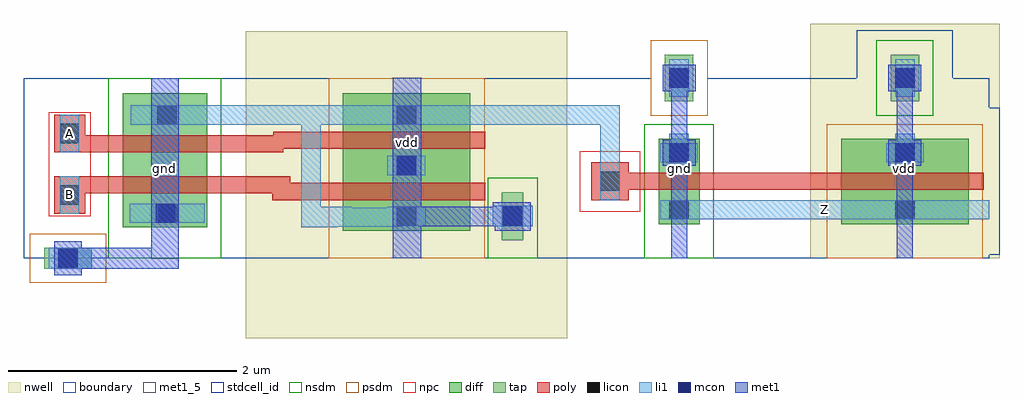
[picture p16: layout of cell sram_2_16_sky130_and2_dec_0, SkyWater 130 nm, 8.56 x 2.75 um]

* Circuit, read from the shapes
.subckt sram_2_16_sky130_and2_dec_0 A B Z gnd vdd
XM1 n1 B gnd gnd sky130_fd_pr__nfet_01v8 w=0.74 l=0.15
XM2 sram_2_16_sky130_pinv_dec_1/A A n1 gnd sky130_fd_pr__nfet_01v8 w=0.74 l=0.15
XM3 gnd sram_2_16_sky130_pinv_dec_1/A Z gnd sky130_fd_pr__nfet_01v8 w=0.36 l=0.15
XM4 vdd B sram_2_16_sky130_pinv_dec_1/A vdd sky130_fd_pr__pfet_01v8 w=1.12 l=0.15
XM5 sram_2_16_sky130_pinv_dec_1/A A vdd vdd sky130_fd_pr__pfet_01v8 w=1.12 l=0.15
XM6 vdd sram_2_16_sky130_pinv_dec_1/A Z vdd sky130_fd_pr__pfet_01v8 w=1.12 l=0.15
.ends

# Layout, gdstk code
from math import pi, radians
import gdstk
lib = gdstk.Library(unit=1e-6, precision=1e-09)
def R(c, l, rs):  # rectangles x0, y0, x1, y1
    for r in rs: c.add(gdstk.rectangle(r[:2], r[2:], *l))
nwell = (64, 20)
diff = (65, 20)
tap = (65, 44)
poly = (66, 20)
licon = (66, 44)
li1 = (67, 20)
mcon = (67, 44)
met1_5 = (68, 5)
met1 = (68, 20)
stdcell_id = (81, 4)
nsdm = (93, 44)
psdm = (94, 20)
npc = (95, 20)
boundary = (235, 4)

sky130_fd_bd_sram__openr = lib.new_cell('sky130_fd_bd_sram__openram_sp_nand2_dec')
R(sky130_fd_bd_sram__openr, nwell, [(1.95,-0.7,4.77,1.99)])
R(sky130_fd_bd_sram__openr, diff, [(2.8,0.24,3.92,1.445), (0.87,0.27,1.61,1.445)])
R(sky130_fd_bd_sram__openr, tap, [(0.18,-0.09,0.6,0.09), (4.195,0.16,4.385,0.58)])
R(sky130_fd_bd_sram__openr, poly, [(0.27,0.39,0.54,0.57), (2.18,0.51,4.05,0.57), (0.27,0.57,4.05,0.66), (0.27,0.66,2.34,0.72), (0.27,0.93,2.28,0.96), (0.27,0.96,4.05,1.08), (0.27,1.08,0.54,1.26), (2.19,1.08,4.05,1.11)])
R(sky130_fd_bd_sram__openr, licon, [(0.305,-0.085,0.475,0.085), (3.275,0.28,3.445,0.45), (4.205,0.285,4.375,0.455), (1.185,0.31,1.355,0.48), (0.32,0.47,0.49,0.64), (3.275,0.73,3.445,0.9), (0.32,1.01,0.49,1.18), (1.175,1.17,1.345,1.34), (3.275,1.17,3.445,1.34)])
R(sky130_fd_bd_sram__openr, li1, [(0.22,-0.09,0.6,0.09), (2.435,0.27,2.75,0.275), (2.435,0.275,3.315,0.28), (2.435,0.28,3.53,0.445), (4.115,0.28,4.465,0.46), (0.93,0.31,1.59,0.48), (0.32,0.39,0.49,0.72), (0.32,0.39,0.49,0.72), (2.435,0.445,2.88,0.45), (3.19,0.445,3.53,0.45), (2.435,0.45,2.605,1.17), (3.19,0.73,3.525,0.9), (0.32,0.93,0.49,1.26), (0.32,0.93,0.49,1.26), (0.94,1.17,4.33,1.34), (0.94,1.17,4.33,1.34)])
R(sky130_fd_bd_sram__openr, mcon, [(0.305,-0.085,0.475,0.085), (4.205,0.285,4.375,0.455), (1.16,0.31,1.33,0.48), (3.275,0.73,3.445,0.9)])
R(sky130_fd_bd_sram__openr, met1_5, [(1.12,-0.005,1.36,1.58), (1.12,-0.005,1.36,1.58), (3.24,0.45,3.49,1.585), (3.24,0.45,3.49,1.585)])
R(sky130_fd_bd_sram__openr, met1, [(0.27,-0.15,0.51,-0.09), (0.27,-0.09,1.36,0.09), (1.12,-0.005,1.36,1.58), (3.24,0,3.49,0.28), (0.27,0.09,0.51,0.15), (1.12,0.09,1.36,1.58), (4.135,0.24,4.45,0.28), (3.24,0.28,4.45,0.45), (3.24,0.45,3.49,1.585), (3.24,0.45,3.49,1.585), (4.115,0.45,4.45,0.49)])
R(sky130_fd_bd_sram__openr, nsdm, [(0.745,0,1.735,1.58), (4.07,0,4.51,0.705)])
R(sky130_fd_bd_sram__openr, psdm, [(0.055,-0.215,0.725,0.215), (2.675,0,4.045,1.58)])
R(sky130_fd_bd_sram__openr, npc, [(0.22,0.37,0.59,1.28)])
R(sky130_fd_bd_sram__openr, boundary, [(0,0,4.76,1.58)])
sky130_fd_bd_sram__openr.add(gdstk.Label('GND', (1.24,0.782), layer=68, texttype=5))
sky130_fd_bd_sram__openr.add(gdstk.Label('VDD', (3.365,1.03), layer=68, texttype=5))
sky130_fd_bd_sram__openr.add(gdstk.Label('vdd', (3.365,1.03), layer=68, texttype=5))
sky130_fd_bd_sram__openr.add(gdstk.Label('gnd', (1.24,0.78), layer=68, texttype=5))
sky130_fd_bd_sram__openr.add(gdstk.Label('A', (0.405,1.095), layer=67, texttype=5))
sky130_fd_bd_sram__openr.add(gdstk.Label('B', (0.405,0.555), layer=67, texttype=5))
sky130_fd_bd_sram__openr.add(gdstk.Label('Z', (2.635,1.255), layer=67, texttype=5))
sky130_fd_bd_sram__openr.add(gdstk.Label('A', (0.405,1.095), layer=67, texttype=5))
sky130_fd_bd_sram__openr.add(gdstk.Label('B', (0.405,0.555), layer=67, texttype=5))
sky130_fd_bd_sram__openr.add(gdstk.Label('Z', (2.635,1.255), layer=67, texttype=5))
sky130_fd_bd_sram__openr.add(gdstk.Label('vdd', (3.365,1.018), layer=68, texttype=5))
sky130_fd_bd_sram__openr.add(gdstk.Label('gnd', (1.24,0.788), layer=68, texttype=5))

sram_2_16_sky130_contact = lib.new_cell('sram_2_16_sky130_contact_11')
R(sram_2_16_sky130_contact, nwell, [(-0.295,-0.255,0.545,0.585)])
R(sram_2_16_sky130_contact, diff, [(0,0.02,0.25,0.31)])
R(sram_2_16_sky130_contact, licon, [(0.04,0.08,0.21,0.25)])
R(sram_2_16_sky130_contact, li1, [(0.04,0,0.21,0.33)])
R(sram_2_16_sky130_contact, stdcell_id, [(-0.295,-0.255,0.545,0.585)])
R(sram_2_16_sky130_contact, psdm, [(-0.125,-0.105,0.375,0.435)])
R(sram_2_16_sky130_contact, boundary, [(-0.295,-0.255,0.545,0.585)])

sram_2_16_sky130_pmos_m1 = lib.new_cell('sram_2_16_sky130_pmos_m1_w1_120_sli_dli_da_p')
R(sram_2_16_sky130_pmos_m1, nwell, [(-0.27,-0.27,1.02,1.39)])
R(sram_2_16_sky130_pmos_m1, diff, [(0,0,0.75,1.12)])
R(sram_2_16_sky130_pmos_m1, poly, [(0.3,-0.13,0.45,1.25), (0.3,-0.13,0.45,1.25)])
R(sram_2_16_sky130_pmos_m1, li1, [(0.04,0.395,0.21,0.725), (0.54,0.395,0.71,0.725)])
R(sram_2_16_sky130_pmos_m1, stdcell_id, [(-0.27,-0.27,1.02,1.39)])
R(sram_2_16_sky130_pmos_m1, psdm, [(-0.125,-0.125,0.875,1.245)])
R(sram_2_16_sky130_pmos_m1, boundary, [(-0.27,-0.27,1.02,1.39)])
sram_2_16_sky130_pmos_m1.add(gdstk.Reference(sram_2_16_sky130_contact, (0,0.395)))
sram_2_16_sky130_pmos_m1.add(gdstk.Reference(sram_2_16_sky130_contact, (0.5,0.395)))
sram_2_16_sky130_pmos_m1.add(gdstk.Label('G', (0.375,0.56), layer=66, texttype=5))
sram_2_16_sky130_pmos_m1.add(gdstk.Label('S', (0.125,0.56), layer=67, texttype=5))
sram_2_16_sky130_pmos_m1.add(gdstk.Label('D', (0.625,0.56), layer=67, texttype=5))

c_sram_2_16_sky130_contact = lib.new_cell('sram_2_16_sky130_contact_10')
R(c_sram_2_16_sky130_contact, diff, [(0,0.02,0.25,0.31)])
R(c_sram_2_16_sky130_contact, licon, [(0.04,0.08,0.21,0.25)])
R(c_sram_2_16_sky130_contact, li1, [(0.04,0,0.21,0.33)])
R(c_sram_2_16_sky130_contact, stdcell_id, [(-0.125,-0.105,0.375,0.435)])
R(c_sram_2_16_sky130_contact, nsdm, [(-0.125,-0.105,0.375,0.435)])
R(c_sram_2_16_sky130_contact, boundary, [(-0.125,-0.105,0.375,0.435)])

sram_2_16_sky130_nmos_m1 = lib.new_cell('sram_2_16_sky130_nmos_m1_w0_360_sli_dli_da_p')
R(sram_2_16_sky130_nmos_m1, diff, [(0,0,0.75,0.36)])
R(sram_2_16_sky130_nmos_m1, poly, [(0.3,-0.13,0.45,0.49), (0.3,-0.13,0.45,0.49)])
R(sram_2_16_sky130_nmos_m1, li1, [(0.04,0.015,0.21,0.345), (0.54,0.015,0.71,0.345)])
R(sram_2_16_sky130_nmos_m1, stdcell_id, [(-0.125,-0.13,0.875,0.49)])
R(sram_2_16_sky130_nmos_m1, nsdm, [(-0.125,-0.125,0.875,0.485)])
R(sram_2_16_sky130_nmos_m1, boundary, [(-0.125,-0.13,0.875,0.49)])
sram_2_16_sky130_nmos_m1.add(gdstk.Reference(c_sram_2_16_sky130_contact, (0,0.015)))
sram_2_16_sky130_nmos_m1.add(gdstk.Reference(c_sram_2_16_sky130_contact, (0.5,0.015)))
sram_2_16_sky130_nmos_m1.add(gdstk.Label('G', (0.375,0.18), layer=66, texttype=5))
sram_2_16_sky130_nmos_m1.add(gdstk.Label('S', (0.125,0.18), layer=67, texttype=5))
sram_2_16_sky130_nmos_m1.add(gdstk.Label('D', (0.625,0.18), layer=67, texttype=5))

c_sram_2_16_sky130_contact_ = lib.new_cell('sram_2_16_sky130_contact_12')
R(c_sram_2_16_sky130_contact_, nwell, [(-0.295,-0.215,0.545,0.625)])
R(c_sram_2_16_sky130_contact_, tap, [(0,0,0.25,0.41)])
R(c_sram_2_16_sky130_contact_, licon, [(0.04,0.12,0.21,0.29)])
R(c_sram_2_16_sky130_contact_, li1, [(0.04,0.04,0.21,0.37)])
R(c_sram_2_16_sky130_contact_, stdcell_id, [(-0.295,-0.215,0.545,0.625)])
R(c_sram_2_16_sky130_contact_, nsdm, [(-0.125,-0.125,0.375,0.535)])
R(c_sram_2_16_sky130_contact_, boundary, [(-0.295,-0.215,0.545,0.625)])

c_sram_2_16_sky130_contact__ = lib.new_cell('sram_2_16_sky130_contact_13')
R(c_sram_2_16_sky130_contact__, li1, [(0.06,0,0.23,0.33)])
R(c_sram_2_16_sky130_contact__, mcon, [(0.06,0.08,0.23,0.25)])
R(c_sram_2_16_sky130_contact__, met1, [(0,0.05,0.29,0.28)])
R(c_sram_2_16_sky130_contact__, stdcell_id, [(0,0,0.29,0.33)])
R(c_sram_2_16_sky130_contact__, boundary, [(0,0,0.29,0.33)])

c_sram_2_16_sky130_contact___ = lib.new_cell('sram_2_16_sky130_contact_14')
R(c_sram_2_16_sky130_contact___, tap, [(0,0,0.25,0.41)])
R(c_sram_2_16_sky130_contact___, licon, [(0.04,0.12,0.21,0.29)])
R(c_sram_2_16_sky130_contact___, li1, [(0.04,0.04,0.21,0.37)])
R(c_sram_2_16_sky130_contact___, stdcell_id, [(-0.125,-0.125,0.375,0.535)])
R(c_sram_2_16_sky130_contact___, psdm, [(-0.125,-0.125,0.375,0.535)])
R(c_sram_2_16_sky130_contact___, boundary, [(-0.125,-0.125,0.375,0.535)])

c_sram_2_16_sky130_contact____ = lib.new_cell('sram_2_16_sky130_contact_15')
R(c_sram_2_16_sky130_contact____, poly, [(0,0,0.33,0.33)])
R(c_sram_2_16_sky130_contact____, licon, [(0.08,0.08,0.25,0.25)])
R(c_sram_2_16_sky130_contact____, li1, [(0.08,0,0.25,0.33)])
R(c_sram_2_16_sky130_contact____, stdcell_id, [(-0.1,-0.1,0.43,0.43)])
R(c_sram_2_16_sky130_contact____, npc, [(-0.1,-0.1,0.43,0.43)])
R(c_sram_2_16_sky130_contact____, boundary, [(-0.1,-0.1,0.43,0.43)])

sram_2_16_sky130_pinv_de = lib.new_cell('sram_2_16_sky130_pinv_dec')
R(sram_2_16_sky130_pinv_de, nwell, [(2.14,0,3.8,2.055)])
R(sram_2_16_sky130_pinv_de, poly, [(0.385,0.6,0.68,0.75), (1.3,0.6,2.28,0.75)])
R(sram_2_16_sky130_pinv_de, li1, [(0.825,0.34,3.71,0.51), (0.3,0.51,0.47,0.84)])
R(sram_2_16_sky130_pinv_de, met1_5, [(0.92,0,1.06,1.58), (2.9,0,3.04,1.58)])
R(sram_2_16_sky130_pinv_de, met1, [(0.92,0,1.06,1.58), (2.9,0,3.04,1.58)])
R(sram_2_16_sky130_pinv_de, stdcell_id, [(0,0,3.71,1.58), (0,0,3.71,1.58)])
R(sram_2_16_sky130_pinv_de, nsdm, [(0.685,0,1.295,1.05)])
R(sram_2_16_sky130_pinv_de, psdm, [(2.285,0,3.655,1.05)])
R(sram_2_16_sky130_pinv_de, boundary, [(0,0,3.71,1.58), (0,0,3.71,1.58)])
sram_2_16_sky130_pinv_de.add(gdstk.Reference(sram_2_16_sky130_pmos_m1, (2.41,1.05), rotation=3*pi/2))
sram_2_16_sky130_pinv_de.add(gdstk.Reference(sram_2_16_sky130_nmos_m1, (0.81,1.05), rotation=3*pi/2))
sram_2_16_sky130_pinv_de.add(gdstk.Reference(c_sram_2_16_sky130_contact_, (2.845,1.375)))
sram_2_16_sky130_pinv_de.add(gdstk.Reference(c_sram_2_16_sky130_contact__, (2.825,1.415)))
sram_2_16_sky130_pinv_de.add(gdstk.Reference(c_sram_2_16_sky130_contact___, (0.865,1.375)))
sram_2_16_sky130_pinv_de.add(gdstk.Reference(c_sram_2_16_sky130_contact__, (0.845,1.415)))
sram_2_16_sky130_pinv_de.add(gdstk.Reference(c_sram_2_16_sky130_contact____, (0.22,0.51)))
sram_2_16_sky130_pinv_de.add(gdstk.Reference(c_sram_2_16_sky130_contact__, (0.845,0.76)))
sram_2_16_sky130_pinv_de.add(gdstk.Reference(c_sram_2_16_sky130_contact__, (2.825,0.76)))
sram_2_16_sky130_pinv_de.add(gdstk.Label('A', (0.385,0.675), layer=67, texttype=5))
sram_2_16_sky130_pinv_de.add(gdstk.Label('Z', (2.268,0.425), layer=67, texttype=5))
sram_2_16_sky130_pinv_de.add(gdstk.Label('gnd', (0.99,0.79), layer=68, texttype=5))
sram_2_16_sky130_pinv_de.add(gdstk.Label('vdd', (2.97,0.79), layer=68, texttype=5))

sram_2_16_sky130_and2_de = lib.new_cell('sram_2_16_sky130_and2_dec_0')
R(sram_2_16_sky130_and2_de, li1, [(5.585,0.34,8.47,0.51), (0.32,0.39,0.49,0.72), (5.06,0.675,5.23,1.255), (0.32,0.93,0.49,1.26), (2.635,1.17,5.145,1.34), (5.06,1.17,5.23,1.34)])
R(sram_2_16_sky130_and2_de, met1_5, [(1.12,-0.005,1.36,1.58), (5.68,0,5.82,1.58), (7.66,0,7.8,1.58), (3.24,0.45,3.49,1.585)])
R(sram_2_16_sky130_and2_de, met1, [(1.12,-0.005,1.36,1.58), (5.68,0,5.82,1.58), (7.66,0,7.8,1.58), (3.24,0.45,3.49,1.585)])
R(sram_2_16_sky130_and2_de, stdcell_id, [(0,0,8.47,1.58)])
R(sram_2_16_sky130_and2_de, boundary, [(0,0,8.47,1.58)])
sram_2_16_sky130_and2_de.add(gdstk.Reference(sky130_fd_bd_sram__openr, (0,0)))
sram_2_16_sky130_and2_de.add(gdstk.Reference(sram_2_16_sky130_pinv_de, (4.76,0)))
sram_2_16_sky130_and2_de.add(gdstk.Label('Z', (7.028,0.425), layer=67, texttype=5))
sram_2_16_sky130_and2_de.add(gdstk.Label('A', (0.405,1.095), layer=67, texttype=5))
sram_2_16_sky130_and2_de.add(gdstk.Label('B', (0.405,0.555), layer=67, texttype=5))
sram_2_16_sky130_and2_de.add(gdstk.Label('vdd', (7.73,0.79), layer=68, texttype=5))
sram_2_16_sky130_and2_de.add(gdstk.Label('vdd', (3.365,1.018), layer=68, texttype=5))
sram_2_16_sky130_and2_de.add(gdstk.Label('gnd', (1.24,0.788), layer=68, texttype=5))
sram_2_16_sky130_and2_de.add(gdstk.Label('gnd', (5.75,0.79), layer=68, texttype=5))

lib.write_gds('sram_2_16_sky130_and2_dec_0.gds')
